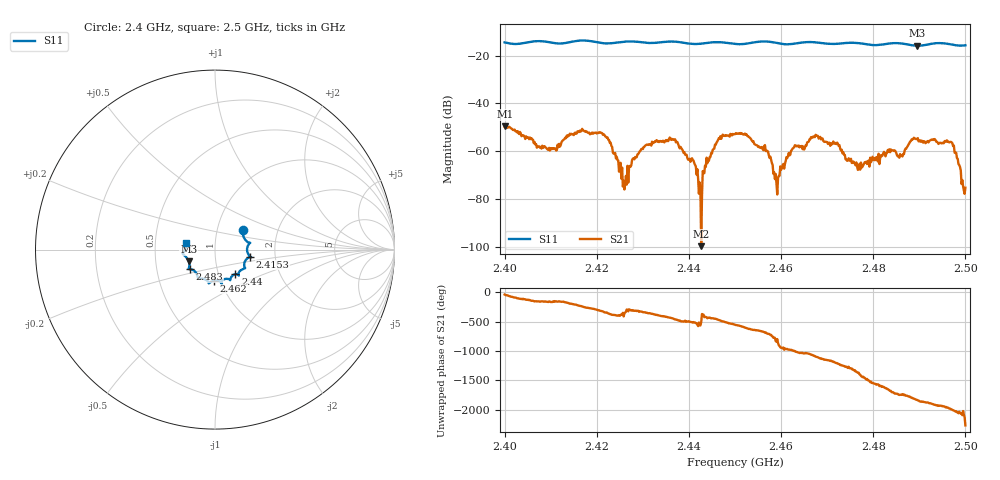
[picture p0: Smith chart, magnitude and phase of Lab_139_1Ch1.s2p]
# Hz S RI R 50
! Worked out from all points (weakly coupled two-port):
!   601 points, 2.4 GHz to 2.5 GHz, reference 50 ohm
!   highest |S21| = -49.58 dB at 2.4002 GHz (marker M1); lowest = -99.8 dB at 2.4427 GHz (marker M2)
!   lowest |S11| = -15.9 dB at 2.4895 GHz (marker M3), VSWR 1.38, Z = 37 - j5 ohm
!   |S11| at or under -10 dB: start of sweep to end of sweep
!   S12 and S22 are empty: the file has one direction only
!   S11 on the Smith chart (normalised r, x): 2.4 GHz: 1.33, +0.29; 2.4153 GHz: 1.48, -0.12; 2.44 GHz: 1.21, -0.34; 2.462 GHz: 0.93, -0.33; 2.483 GHz: 0.74, -0.17; 2.5 GHz: 0.72, +0.06
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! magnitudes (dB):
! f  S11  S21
! 2.4 GHz  -14.5  -49.9
! 2.4002 GHz  -14.6  -49.6
! 2.4097 GHz  -14.4  -58.7
! 2.4153 GHz  -14.0  -52.2
! 2.4167 GHz  -13.7  -51.5
! 2.4222 GHz  -14.9  -54.4
! 2.426 GHz  -14.2  -76.1
! 2.4333 GHz  -14.6  -55.8
! 2.44 GHz  -15.0  -63.4
! 2.4427 GHz  -15.0  -99.8
! 2.4463 GHz  -14.4  -55.3
! 2.45 GHz  -15.1  -52.9
! 2.4568 GHz  -14.1  -60.0
! 2.4592 GHz  -14.8  -78.2
! 2.462 GHz  -15.2  -61.5
! 2.4667 GHz  -14.4  -54.4
! 2.477 GHz  -14.9  -65.4
! 2.483 GHz  -15.1  -60.7
! 2.4833 GHz  -15.0  -60.2
! 2.4895 GHz  -15.9  -55.0
! 2.497 GHz  -15.4  -56.3
! 2.5 GHz  -15.7  -75.3
